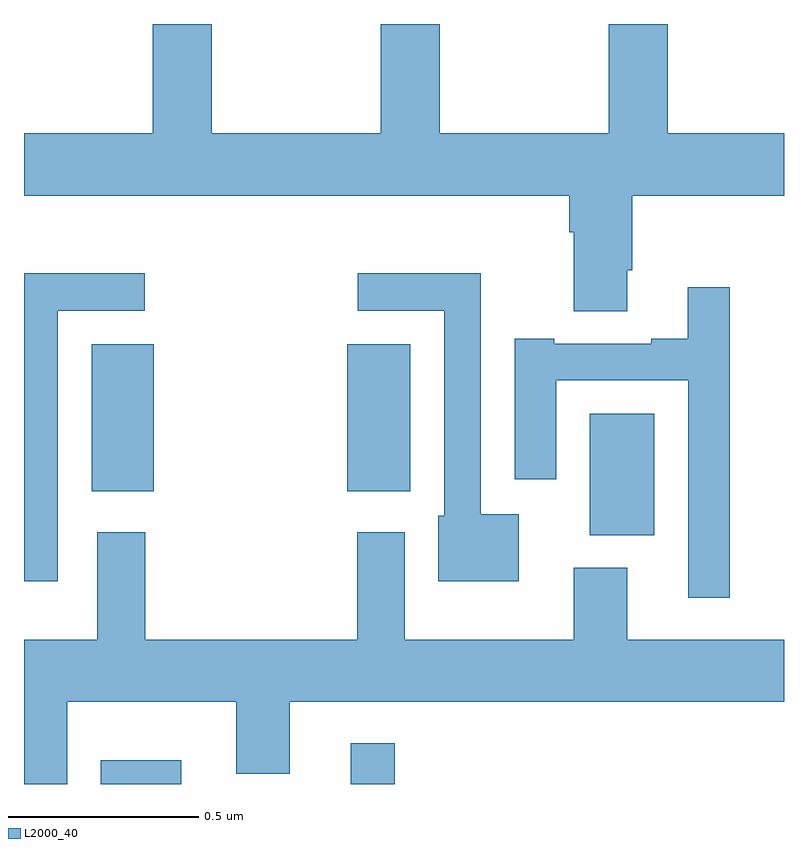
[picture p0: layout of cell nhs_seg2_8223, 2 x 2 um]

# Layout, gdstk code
import gdstk
lib = gdstk.Library(unit=1e-6, precision=1e-09)
def R(c, l, rs):  # rectangles x0, y0, x1, y1
    for r in rs: c.add(gdstk.rectangle(r[:2], r[2:], *l))
def P(c, l, *ps):  # polygons
    for p in ps: c.add(gdstk.Polygon(p, *l))
L2000_40 = (2000, 40)

nhs_seg2_8223 = lib.new_cell('nhs_seg2_8223')
R(nhs_seg2_8223, L2000_40, [(214.202,600.8,214.414,600.862), (214.86,600.8,214.976,600.907), (215.489,601.454,215.659,601.774), (214.178,601.571,214.342,601.957), (214.85,601.571,215.017,601.957)])
P(nhs_seg2_8223, L2000_40, [(215.587,602.152),(215.6,602.152),(215.6,602.348),(216,602.348),(216,602.512),(215.694,602.512),(215.694,602.8),(215.539,602.8),(215.539,602.512),(215.094,602.512),(215.094,602.8),(214.939,602.8),(214.939,602.512),(214.494,602.512),(214.494,602.8),(214.339,602.8),(214.339,602.512),(214,602.512),(214,602.348),(215.435,602.348),(215.435,602.252),(215.447,602.252),(215.447,602.044),(215.587,602.044)],
  [(215.302,601.51),(215.202,601.51),(215.202,602.144),(214.878,602.144),(214.878,602.046),(215.106,602.046),(215.106,601.506),(215.09,601.506),(215.09,601.334),(215.302,601.334)],
  [(214.089,602.046),(214.318,602.046),(214.318,602.144),(214.001,602.144),(214,602.143),(214,601.334),(214.089,601.334)],
  [(215.857,602.107),(215.747,602.107),(215.747,601.972),(215.651,601.972),(215.651,601.959),(215.395,601.959),(215.395,601.972),(215.291,601.972),(215.291,601.602),(215.401,601.602),(215.401,601.863),(215.748,601.863),(215.748,601.29),(215.857,601.29)],
  [(214.114,601.016),(214.559,601.016),(214.559,600.827),(214.699,600.827),(214.699,601.016),(216,601.016),(216,601.18),(215.587,601.18),(215.587,601.369),(215.447,601.369),(215.447,601.18),(215.002,601.18),(215.002,601.462),(214.877,601.462),(214.877,601.18),(214.319,601.18),(214.319,601.462),(214.193,601.462),(214.193,601.18),(214,601.18),(214,600.8),(214.114,600.8)])

lib.write_gds('nhs_seg2_8223.gds')
